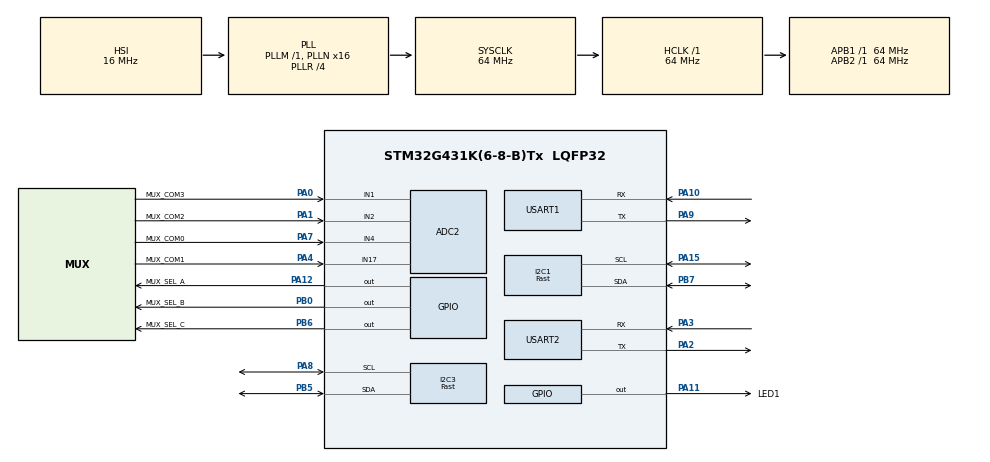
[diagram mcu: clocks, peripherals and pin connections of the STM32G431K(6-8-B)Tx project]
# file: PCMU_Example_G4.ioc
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ADC2.Channel-0\#ChannelRegularConversion=ADC_CHANNEL_4
ADC2.Channel-3\#ChannelRegularConversion=ADC_CHANNEL_17
ADC2.Channel-6\#ChannelRegularConversion=ADC_CHANNEL_2
ADC2.Channel-7\#ChannelRegularConversion=ADC_CHANNEL_1
ADC2.LowPowerAutoWait=ENABLE
ADC2.NbrOfConversion=4
ADC2.NbrOfConversionFlag=1
ADC2.OffsetNumber-3\#ChannelRegularConversion=ADC_OFFSET_NONE
ADC2.OffsetNumber-6\#ChannelRegularConversion=ADC_OFFSET_NONE
ADC2.OffsetNumber-7\#ChannelRegularConversion=ADC_OFFSET_NONE
ADC2.Rank-3\#ChannelRegularConversion=2
ADC2.Rank-6\#ChannelRegularConversion=3
ADC2.Rank-7\#ChannelRegularConversion=4
ADC2.SamplingTime-0\#ChannelRegularConversion=ADC_SAMPLETIME_247CYCLES_5
ADC2.SamplingTime-3\#ChannelRegularConversion=ADC_SAMPLETIME_247CYCLES_5
ADC2.SamplingTime-6\#ChannelRegularConversion=ADC_SAMPLETIME_247CYCLES_5
ADC2.SamplingTime-7\#ChannelRegularConversion=ADC_SAMPLETIME_247CYCLES_5
Dma.Request0=USART1_TX
Dma.Request1=USART2_TX
Dma.USART1_TX.0.Direction=DMA_MEMORY_TO_PERIPH
Dma.USART1_TX.0.EventEnable=DISABLE
Dma.USART1_TX.0.Instance=DMA1_Channel1
Dma.USART1_TX.0.MemDataAlignment=DMA_MDATAALIGN_BYTE
Dma.USART1_TX.0.MemInc=DMA_MINC_ENABLE
Dma.USART1_TX.0.Mode=DMA_NORMAL
Dma.USART1_TX.0.PeriphDataAlignment=DMA_PDATAALIGN_BYTE
Dma.USART1_TX.0.PeriphInc=DMA_PINC_DISABLE
Dma.USART1_TX.0.Polarity=HAL_DMAMUX_REQ_GEN_RISING
Dma.USART1_TX.0.Priority=DMA_PRIORITY_LOW
Dma.USART1_TX.0.RequestNumber=1
Dma.USART1_TX.0.SignalID=NONE
Dma.USART1_TX.0.SyncEnable=DISABLE
Dma.USART1_TX.0.SyncPolarity=HAL_DMAMUX_SYNC_NO_EVENT
Dma.USART1_TX.0.SyncRequestNumber=1
Dma.USART1_TX.0.SyncSignalID=NONE
Dma.USART2_TX.1.Direction=DMA_MEMORY_TO_PERIPH
Dma.USART2_TX.1.EventEnable=DISABLE
Dma.USART2_TX.1.Instance=DMA1_Channel2
Dma.USART2_TX.1.MemDataAlignment=DMA_MDATAALIGN_BYTE
Dma.USART2_TX.1.MemInc=DMA_MINC_ENABLE
Dma.USART2_TX.1.Mode=DMA_NORMAL
Dma.USART2_TX.1.PeriphDataAlignment=DMA_PDATAALIGN_BYTE
Dma.USART2_TX.1.PeriphInc=DMA_PINC_DISABLE
Dma.USART2_TX.1.Polarity=HAL_DMAMUX_REQ_GEN_RISING
Dma.USART2_TX.1.Priority=DMA_PRIORITY_LOW
Dma.USART2_TX.1.RequestNumber=1
Dma.USART2_TX.1.SignalID=NONE
Dma.USART2_TX.1.SyncEnable=DISABLE
Dma.USART2_TX.1.SyncPolarity=HAL_DMAMUX_SYNC_NO_EVENT
Dma.USART2_TX.1.SyncRequestNumber=1
Dma.USART2_TX.1.SyncSignalID=NONE
FREERTOS.INCLUDE_vTaskDelete=1
FREERTOS.Tasks01=defaultTask,24,128,StartDefaultTask,Default,NULL,Dynamic,NULL,NULL
FREERTOS.configENABLE_FPU=1
FREERTOS.configTOTAL_HEAP_SIZE=10240
FREERTOS.configUSE_NEWLIB_REENTRANT=1
I2C1.I2C_Speed_Mode=I2C_Fast
I2C1.Timing=0x00C12166
I2C3.I2C_Speed_Mode=I2C_Fast
I2C3.Timing=0x00C12166
IWDG.Prescaler=IWDG_PRESCALER_32
Mcu.Family=STM32G4
Mcu.Name=STM32G431K(6-8-B)Tx
Mcu.Package=LQFP32
NUCLEO-G431KB.Bsp_Common_DEMO=true
NUCLEO-G431KB.LD2=true
NUCLEO-G431KB.VCP=false
NVIC.DMA1_Channel1_IRQn=true\:5\:0\:false\:false\:true\:true\:false\:true\:true
NVIC.DMA1_Channel2_IRQn=true\:5\:0\:false\:false\:true\:true\:false\:true\:true
NVIC.PriorityGroup=NVIC_PRIORITYGROUP_4
NVIC.TIM6_DAC_IRQn=true\:0\:0\:true\:false\:true\:false\:false\:true\:true
NVIC.TimeBase=TIM6_DAC_IRQn
NVIC.TimeBaseIP=TIM6
NVIC.USART1_IRQn=true\:5\:0\:false\:false\:true\:true\:true\:true\:true
NVIC.USART2_IRQn=true\:5\:0\:false\:false\:true\:true\:true\:true\:true
PA0.GPIO_Label=MUX_COM3
PA0.GPIO_Mode=GPIO_MODE_ANALOG
PA0.GPIO_Pd=GPIO_NOPULL
PA0.Mode=IN1-Single-Ended
PA0.Signal=ADC2_IN1
PA1.GPIO_Label=MUX_COM2
PA1.GPIO_Mode=GPIO_MODE_ANALOG
PA1.GPIO_Pd=GPIO_NOPULL
PA1.Mode=IN2-Single-Ended
PA1.Signal=ADC2_IN2
PA10.Mode=Asynchronous
PA10.Signal=USART1_RX
PA11.GPIO_Label=LED1
PA11.Signal=GPIO_Output
PA12.GPIO_Label=MUX_SEL_A
PA12.Signal=GPIO_Output
PA13.GPIO_Label=T_SWDIO
PA13.Mode=Serial_Wire
PA13.Signal=SYS_JTMS-SWDIO
PA14.GPIO_Label=T_SWCLK
PA14.Mode=Serial_Wire
PA14.Signal=SYS_JTCK-SWCLK
PA15.GPIO_Pu=GPIO_PULLUP
PA15.Mode=I2C
PA15.Signal=I2C1_SCL
PA2.Mode=Asynchronous
PA2.Signal=USART2_TX
PA3.Mode=Asynchronous
PA3.Signal=USART2_RX
PA4.GPIO_Label=MUX_COM1
PA4.GPIO_Mode=GPIO_MODE_ANALOG
PA4.GPIO_Pd=GPIO_NOPULL
PA4.Mode=IN17-Single-Ended
PA4.Signal=ADC2_IN17
PA7.GPIO_Label=MUX_COM0
PA7.GPIO_Mode=GPIO_MODE_ANALOG
PA7.GPIO_Pd=GPIO_NOPULL
PA7.Mode=IN4-Single-Ended
PA7.Signal=ADC2_IN4
PA8.GPIO_Pu=GPIO_PULLUP
PA8.GPIO_Speed=GPIO_SPEED_FREQ_LOW
PA8.Mode=I2C
PA8.Signal=I2C3_SCL
PA9.Mode=Asynchronous
PA9.Signal=USART1_TX
PB0.GPIO_Label=MUX_SEL_B
PB0.Signal=GPIO_Output
PB5.GPIO_Pu=GPIO_PULLUP
PB5.Mode=I2C
PB5.Signal=I2C3_SDA
PB6.GPIO_Label=MUX_SEL_C
PB6.Signal=GPIO_Output
PB7.GPIO_Pu=GPIO_PULLUP
PB7.Mode=I2C
PB7.Signal=I2C1_SDA
ProjectManager.HeapSize=0x400
ProjectManager.StackSize=0x800
ProjectManager.TargetToolchain=STM32CubeIDE
RCC.ADC12Freq_Value=64000000
RCC.AHBFreq_Value=64000000
RCC.APB1Freq_Value=64000000
RCC.APB1TimFreq_Value=64000000
RCC.APB2Freq_Value=64000000
RCC.APB2TimFreq_Value=64000000
RCC.CortexFreq_Value=64000000
RCC.EXTERNAL_CLOCK_VALUE=12288000
RCC.HCLKFreq_Value=64000000
RCC.HSE_VALUE=8000000
RCC.HSI48_VALUE=48000000
RCC.HSI_VALUE=16000000
RCC.LSE_VALUE=32768
RCC.MSIAutoCalibration=ENABLED
RCC.MSICalibrationValue=0
RCC.PLLN=16
RCC.PLLP=RCC_PLLP_DIV8
RCC.PLLR=RCC_PLLR_DIV4
RCC.SYSCLKFreq_VALUE=64000000
RCC.SYSCLKSource=RCC_SYSCLKSOURCE_PLLCLK
RCC.USBFreq_Value=128000000
RCC.VCOOutputFreq_Value=256000000
USART1.VirtualMode-Asynchronous=VM_ASYNC
USART2.VirtualMode-Asynchronous=VM_ASYNC
VP_FREERTOS_VS_CMSIS_V2.Mode=CMSIS_V2
VP_IWDG_VS_IWDG.Mode=IWDG_Activate
VP_NUCLEO-G431KB_VS_BSP_COMMON.Mode=COMMON
VP_SYS_VS_DBSignals.Mode=DisableDeadBatterySignals
VP_SYS_VS_tim6.Mode=TIM6
board=NUCLEO-G431KB

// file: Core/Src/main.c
/* USER CODE BEGIN Header */
/**
  ******************************************************************************
  * @file           : main.c
  * @brief          : Main program body
  ******************************************************************************
  * @attention
  *
  * Copyright (c) 2026 STMicroelectronics.
  * All rights reserved.
  *
  * This software is licensed under terms that can be found in the LICENSE file
  * in the root directory of this software component.
  * If no LICENSE file comes with this software, it is provided AS-IS.
  *
  ******************************************************************************
  */
/* USER CODE END Header */
#include "main.h"
#include "cmsis_os.h"

/* USER CODE BEGIN Includes */
#include "buffer.h"
#include "version.h"
#include "runtime_logger.h"

// Tell main.c that these functions exist in your other .c files
extern void StartTask_DAQ(void * argument);
extern void StartTask_Telemetry(void * argument);
/* USER CODE END Includes */

ADC_HandleTypeDef hadc2;

I2C_HandleTypeDef hi2c1;
I2C_HandleTypeDef hi2c3;

IWDG_HandleTypeDef hiwdg;

UART_HandleTypeDef huart1;
UART_HandleTypeDef huart2;
DMA_HandleTypeDef hdma_usart1_tx;
DMA_HandleTypeDef hdma_usart2_tx;

/* Definitions for defaultTask */
osThreadId_t defaultTaskHandle;
const osThreadAttr_t defaultTask_attributes = {
  .name = "defaultTask",
  .priority = (osPriority_t) osPriorityNormal,
  .stack_size = 128 * 4
};

void SystemClock_Config(void);
static void MX_GPIO_Init(void);
static void MX_DMA_Init(void);
static void MX_USART1_UART_Init(void);
static void MX_I2C1_Init(void);
static void MX_ADC2_Init(void);
static void MX_IWDG_Init(void);
static void MX_USART2_UART_Init(void);
static void MX_I2C3_Init(void);
void StartDefaultTask(void *argument);

int main(void)
{

  /* MCU Configuration--------------------------------------------------------*/

  /* Reset of all peripherals, Initializes the Flash interface and the Systick. */
  HAL_Init();

  /* USER CODE BEGIN Init */

  /* Read, lock, and clear the system reset cause */
  last_reset_cause = GetSystemResetCause();

  /* USER CODE END Init */

  /* Configure the system clock */
  SystemClock_Config();

  /* Initialize all configured peripherals */
  MX_GPIO_Init();
  MX_DMA_Init();
  MX_USART1_UART_Init();
  MX_I2C1_Init();
  MX_ADC2_Init();
  MX_IWDG_Init();
  MX_USART2_UART_Init();
  MX_I2C3_Init();
  /* USER CODE BEGIN 2 */
  Logger_Init();
  /* USER CODE END 2 */

  /* Init scheduler */
  osKernelInitialize();

  /* Create the thread(s) */
  /* creation of defaultTask */
  defaultTaskHandle = osThreadNew(StartDefaultTask, NULL, &defaultTask_attributes);

  /* USER CODE BEGIN RTOS_THREADS */

    // Create Task 1: High-Speed DAQ (200 Hz)
    const osThreadAttr_t daqTask_attributes = {
      .name = "daqTask",
      .stack_size = 512 * 4, // 512 words (2048 bytes) to be safe with float math
      .priority = (osPriority_t) osPriorityHigh,
    };
    osThreadNew(StartTask_DAQ, NULL, &daqTask_attributes);

    // Create Task 2: 1Hz Process and UART TX
    const osThreadAttr_t txTask_attributes = {
      .name = "telTask",
      .stack_size = 1024 * 4, // 512 words
      .priority = (osPriority_t) osPriorityNormal,
    };
    osThreadNew(StartTask_Telemetry, NULL, &txTask_attributes);

  /* USER CODE END RTOS_THREADS */

  /* Initialize leds */
  BSP_LED_Init(LED_GREEN);

  /* Start scheduler */
  osKernelStart();

  /* We should never get here as control is now taken by the scheduler */

  /* Infinite loop */
  while (1)
  {

  }
}

void SystemClock_Config(void)
{
  RCC_OscInitTypeDef RCC_OscInitStruct = {0};
  RCC_ClkInitTypeDef RCC_ClkInitStruct = {0};

  /** Configure the main internal regulator output voltage
  */
  HAL_PWREx_ControlVoltageScaling(PWR_REGULATOR_VOLTAGE_SCALE1);

  /** Initializes the RCC Oscillators according to the specified parameters
  * in the RCC_OscInitTypeDef structure.
  */
  RCC_OscInitStruct.OscillatorType = RCC_OSCILLATORTYPE_HSI|RCC_OSCILLATORTYPE_LSI;
  RCC_OscInitStruct.HSIState = RCC_HSI_ON;
  RCC_OscInitStruct.HSICalibrationValue = RCC_HSICALIBRATION_DEFAULT;
  RCC_OscInitStruct.LSIState = RCC_LSI_ON;
  RCC_OscInitStruct.PLL.PLLState = RCC_PLL_ON;
  RCC_OscInitStruct.PLL.PLLSource = RCC_PLLSOURCE_HSI;
  RCC_OscInitStruct.PLL.PLLM = RCC_PLLM_DIV1;
  RCC_OscInitStruct.PLL.PLLN = 16;
  RCC_OscInitStruct.PLL.PLLP = RCC_PLLP_DIV8;
  RCC_OscInitStruct.PLL.PLLQ = RCC_PLLQ_DIV2;
  RCC_OscInitStruct.PLL.PLLR = RCC_PLLR_DIV4;
  if (HAL_RCC_OscConfig(&RCC_OscInitStruct) != HAL_OK)
  {
    Error_Handler();
  }

  /** Initializes the CPU, AHB and APB buses clocks
  */
  RCC_ClkInitStruct.ClockType = RCC_CLOCKTYPE_HCLK|RCC_CLOCKTYPE_SYSCLK
                              |RCC_CLOCKTYPE_PCLK1|RCC_CLOCKTYPE_PCLK2;
  RCC_ClkInitStruct.SYSCLKSource = RCC_SYSCLKSOURCE_PLLCLK;
  RCC_ClkInitStruct.AHBCLKDivider = RCC_SYSCLK_DIV1;
  RCC_ClkInitStruct.APB1CLKDivider = RCC_HCLK_DIV1;
  RCC_ClkInitStruct.APB2CLKDivider = RCC_HCLK_DIV1;

  if (HAL_RCC_ClockConfig(&RCC_ClkInitStruct, FLASH_LATENCY_2) != HAL_OK)
  {
    Error_Handler();
  }
}

static void MX_ADC2_Init(void)
{

  ADC_ChannelConfTypeDef sConfig = {0};

  /** Common config
  */
  hadc2.Instance = ADC2;
  hadc2.Init.ClockPrescaler = ADC_CLOCK_SYNC_PCLK_DIV2;
  hadc2.Init.Resolution = ADC_RESOLUTION_12B;
  hadc2.Init.DataAlign = ADC_DATAALIGN_RIGHT;
  hadc2.Init.GainCompensation = 0;
  hadc2.Init.ScanConvMode = ADC_SCAN_ENABLE;
  hadc2.Init.EOCSelection = ADC_EOC_SINGLE_CONV;
  hadc2.Init.LowPowerAutoWait = ENABLE;
  hadc2.Init.ContinuousConvMode = DISABLE;
  hadc2.Init.NbrOfConversion = 4;
  hadc2.Init.DiscontinuousConvMode = DISABLE;
  hadc2.Init.ExternalTrigConv = ADC_SOFTWARE_START;
  hadc2.Init.ExternalTrigConvEdge = ADC_EXTERNALTRIGCONVEDGE_NONE;
  hadc2.Init.DMAContinuousRequests = DISABLE;
  hadc2.Init.Overrun = ADC_OVR_DATA_PRESERVED;
  hadc2.Init.OversamplingMode = DISABLE;
  if (HAL_ADC_Init(&hadc2) != HAL_OK)
  {
    Error_Handler();
  }

  /** Configure Regular Channel
  */
  sConfig.Channel = ADC_CHANNEL_4;
  sConfig.Rank = ADC_REGULAR_RANK_1;
  sConfig.SamplingTime = ADC_SAMPLETIME_247CYCLES_5;
  sConfig.SingleDiff = ADC_SINGLE_ENDED;
  sConfig.OffsetNumber = ADC_OFFSET_NONE;
  sConfig.Offset = 0;
  if (HAL_ADC_ConfigChannel(&hadc2, &sConfig) != HAL_OK)
  {
    Error_Handler();
  }

  /** Configure Regular Channel
  */
  sConfig.Channel = ADC_CHANNEL_17;
  sConfig.Rank = ADC_REGULAR_RANK_2;
  if (HAL_ADC_ConfigChannel(&hadc2, &sConfig) != HAL_OK)
  {
    Error_Handler();
  }

  /** Configure Regular Channel
  */
  sConfig.Channel = ADC_CHANNEL_2;
  sConfig.Rank = ADC_REGULAR_RANK_3;
  if (HAL_ADC_ConfigChannel(&hadc2, &sConfig) != HAL_OK)
  {
    Error_Handler();
  }

  /** Configure Regular Channel
  */
  sConfig.Channel = ADC_CHANNEL_1;
  sConfig.Rank = ADC_REGULAR_RANK_4;
  if (HAL_ADC_ConfigChannel(&hadc2, &sConfig) != HAL_OK)
  {
    Error_Handler();
  }

}

static void MX_I2C1_Init(void)
{

  hi2c1.Instance = I2C1;
  hi2c1.Init.Timing = 0x00C12166;
  hi2c1.Init.OwnAddress1 = 0;
  hi2c1.Init.AddressingMode = I2C_ADDRESSINGMODE_7BIT;
  hi2c1.Init.DualAddressMode = I2C_DUALADDRESS_DISABLE;
  hi2c1.Init.OwnAddress2 = 0;
  hi2c1.Init.OwnAddress2Masks = I2C_OA2_NOMASK;
  hi2c1.Init.GeneralCallMode = I2C_GENERALCALL_DISABLE;
  hi2c1.Init.NoStretchMode = I2C_NOSTRETCH_DISABLE;
  if (HAL_I2C_Init(&hi2c1) != HAL_OK)
  {
    Error_Handler();
  }

  /** Configure Analogue filter
  */
  if (HAL_I2CEx_ConfigAnalogFilter(&hi2c1, I2C_ANALOGFILTER_ENABLE) != HAL_OK)
  {
    Error_Handler();
  }

  /** Configure Digital filter
  */
  if (HAL_I2CEx_ConfigDigitalFilter(&hi2c1, 0) != HAL_OK)
  {
    Error_Handler();
  }

}

static void MX_I2C3_Init(void)
{

  hi2c3.Instance = I2C3;
  hi2c3.Init.Timing = 0x00C12166;
  hi2c3.Init.OwnAddress1 = 0;
  hi2c3.Init.AddressingMode = I2C_ADDRESSINGMODE_7BIT;
  hi2c3.Init.DualAddressMode = I2C_DUALADDRESS_DISABLE;
  hi2c3.Init.OwnAddress2 = 0;
  hi2c3.Init.OwnAddress2Masks = I2C_OA2_NOMASK;
  hi2c3.Init.GeneralCallMode = I2C_GENERALCALL_DISABLE;
  hi2c3.Init.NoStretchMode = I2C_NOSTRETCH_DISABLE;
  if (HAL_I2C_Init(&hi2c3) != HAL_OK)
  {
    Error_Handler();
  }

  /** Configure Analogue filter
  */
  if (HAL_I2CEx_ConfigAnalogFilter(&hi2c3, I2C_ANALOGFILTER_ENABLE) != HAL_OK)
  {
    Error_Handler();
  }

  /** Configure Digital filter
  */
  if (HAL_I2CEx_ConfigDigitalFilter(&hi2c3, 0) != HAL_OK)
  {
    Error_Handler();
  }

}

static void MX_IWDG_Init(void)
{

  hiwdg.Instance = IWDG;
  hiwdg.Init.Prescaler = IWDG_PRESCALER_32;
  hiwdg.Init.Window = 4095;
  hiwdg.Init.Reload = 4095;
  if (HAL_IWDG_Init(&hiwdg) != HAL_OK)
  {
    Error_Handler();
  }

}

static void MX_USART1_UART_Init(void)
{

  huart1.Instance = USART1;
  huart1.Init.BaudRate = 115200;
  huart1.Init.WordLength = UART_WORDLENGTH_8B;
  huart1.Init.StopBits = UART_STOPBITS_1;
  huart1.Init.Parity = UART_PARITY_NONE;
  huart1.Init.Mode = UART_MODE_TX_RX;
  huart1.Init.HwFlowCtl = UART_HWCONTROL_NONE;
  huart1.Init.OverSampling = UART_OVERSAMPLING_16;
  huart1.Init.OneBitSampling = UART_ONE_BIT_SAMPLE_DISABLE;
  huart1.Init.ClockPrescaler = UART_PRESCALER_DIV1;
  huart1.AdvancedInit.AdvFeatureInit = UART_ADVFEATURE_NO_INIT;
  if (HAL_UART_Init(&huart1) != HAL_OK)
  {
    Error_Handler();
  }
  if (HAL_UARTEx_SetTxFifoThreshold(&huart1, UART_TXFIFO_THRESHOLD_1_8) != HAL_OK)
  {
    Error_Handler();
  }
  if (HAL_UARTEx_SetRxFifoThreshold(&huart1, UART_RXFIFO_THRESHOLD_1_8) != HAL_OK)
  {
    Error_Handler();
  }
  if (HAL_UARTEx_DisableFifoMode(&huart1) != HAL_OK)
  {
    Error_Handler();
  }

}

static void MX_USART2_UART_Init(void)
{

  huart2.Instance = USART2;
  huart2.Init.BaudRate = 115200;
  huart2.Init.WordLength = UART_WORDLENGTH_8B;
  huart2.Init.StopBits = UART_STOPBITS_1;
  huart2.Init.Parity = UART_PARITY_NONE;
  huart2.Init.Mode = UART_MODE_TX_RX;
  huart2.Init.HwFlowCtl = UART_HWCONTROL_NONE;
  huart2.Init.OverSampling = UART_OVERSAMPLING_16;
  huart2.Init.OneBitSampling = UART_ONE_BIT_SAMPLE_DISABLE;
  huart2.Init.ClockPrescaler = UART_PRESCALER_DIV1;
  huart2.AdvancedInit.AdvFeatureInit = UART_ADVFEATURE_NO_INIT;
  if (HAL_UART_Init(&huart2) != HAL_OK)
  {
    Error_Handler();
  }
  if (HAL_UARTEx_SetTxFifoThreshold(&huart2, UART_TXFIFO_THRESHOLD_1_8) != HAL_OK)
  {
    Error_Handler();
  }
  if (HAL_UARTEx_SetRxFifoThreshold(&huart2, UART_RXFIFO_THRESHOLD_1_8) != HAL_OK)
  {
    Error_Handler();
  }
  if (HAL_UARTEx_DisableFifoMode(&huart2) != HAL_OK)
  {
    Error_Handler();
  }

}

static void MX_DMA_Init(void)
{

  /* DMA controller clock enable */
  __HAL_RCC_DMAMUX1_CLK_ENABLE();
  __HAL_RCC_DMA1_CLK_ENABLE();

  /* DMA interrupt init */
  /* DMA1_Channel1_IRQn interrupt configuration */
  HAL_NVIC_SetPriority(DMA1_Channel1_IRQn, 5, 0);
  HAL_NVIC_EnableIRQ(DMA1_Channel1_IRQn);
  /* DMA1_Channel2_IRQn interrupt configuration */
  HAL_NVIC_SetPriority(DMA1_Channel2_IRQn, 5, 0);
  HAL_NVIC_EnableIRQ(DMA1_Channel2_IRQn);

}

static void MX_GPIO_Init(void)
{
  GPIO_InitTypeDef GPIO_InitStruct = {0};

  /* GPIO Ports Clock Enable */
  __HAL_RCC_GPIOA_CLK_ENABLE();
  __HAL_RCC_GPIOB_CLK_ENABLE();

  /*Configure GPIO pin Output Level */
  HAL_GPIO_WritePin(GPIOB, MUX_SEL_B_Pin|MUX_SEL_C_Pin, GPIO_PIN_RESET);

  /*Configure GPIO pin Output Level */
  HAL_GPIO_WritePin(GPIOA, LED1_Pin|MUX_SEL_A_Pin, GPIO_PIN_RESET);

  /*Configure GPIO pins : MUX_SEL_B_Pin MUX_SEL_C_Pin */
  GPIO_InitStruct.Pin = MUX_SEL_B_Pin|MUX_SEL_C_Pin;
  GPIO_InitStruct.Mode = GPIO_MODE_OUTPUT_PP;
  GPIO_InitStruct.Pull = GPIO_NOPULL;
  GPIO_InitStruct.Speed = GPIO_SPEED_FREQ_LOW;
  HAL_GPIO_Init(GPIOB, &GPIO_InitStruct);

  /*Configure GPIO pins : LED1_Pin MUX_SEL_A_Pin */
  GPIO_InitStruct.Pin = LED1_Pin|MUX_SEL_A_Pin;
  GPIO_InitStruct.Mode = GPIO_MODE_OUTPUT_PP;
  GPIO_InitStruct.Pull = GPIO_NOPULL;
  GPIO_InitStruct.Speed = GPIO_SPEED_FREQ_LOW;
  HAL_GPIO_Init(GPIOA, &GPIO_InitStruct);

}

void StartDefaultTask(void *argument)
{
  /* USER CODE BEGIN 5 */

  /* Run the LED blink sequence (HW and SW versions) */
  Version_BlinkSequence();

  /* Infinite loop - The task is done flashing, now it just idles */
  for(;;)
  {
    osDelay(1000);
  }
  /* USER CODE END 5 */
}

void HAL_TIM_PeriodElapsedCallback(TIM_HandleTypeDef *htim)
{
  if (htim->Instance == TIM6)
  {
    HAL_IncTick();
  }
}
/* USER CODE BEGIN Header */
/**
  ******************************************************************************
  * @file           : main.c
  * @brief          : Main program body
  ******************************************************************************
  * @attention
  *
  * Copyright (c) 2026 STMicroelectronics.
  * All rights reserved.
  *
  * This software is licensed under terms that can be found in the LICENSE file
  * in the root directory of this software component.
  * If no LICENSE file comes with this software, it is provided AS-IS.
  *
  ******************************************************************************
  */
/* USER CODE END Header */

void Error_Handler(void)
{
  __disable_irq();
  while (1)
  {
  }
}
